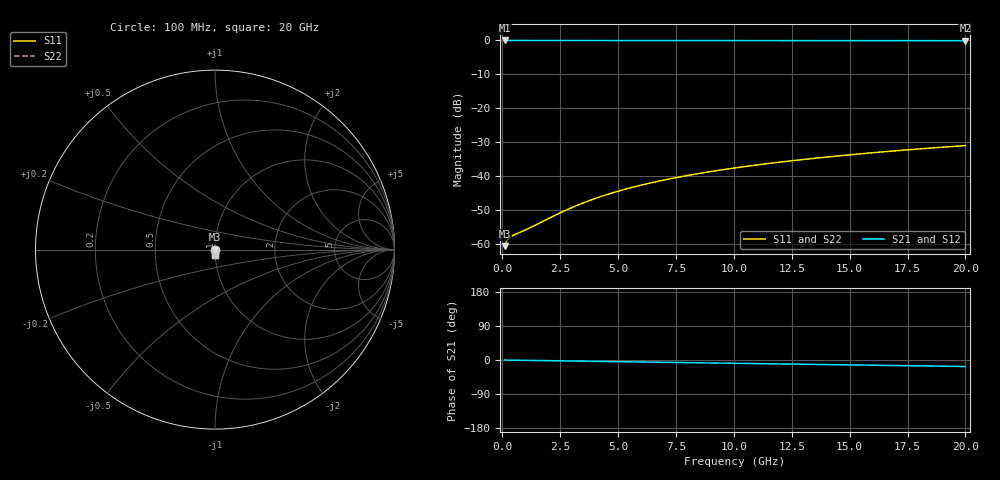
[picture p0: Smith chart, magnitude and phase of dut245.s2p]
! Touchstone file exported from HFSS 2026.1.0
!  File:  C:/ffzhzh/LocalFiles/Ansys_Project_Files/temp_train_TMRDL_245_1782984732_6248.aedt
!  Generated:  05:33:19 PM Jul  2, 2026
!  Design:  TMRDL
!  Project:  temp_train_TMRDL_245_1782984732_6248
! Variables:
!  h_bsmrdl = 2um
!  h_ox = 20um
!  h_rdl = 5um
!  h_sub = 80um
!  h_tmrdl = 5.99um
!  h_tsv = 80um
!  h_via = 3um
!  l_bsmrdl = 300um
!  l_sub = 699.61um
!  l_tmrdl = 299.61um
!  m_sub = 200um
!  pitch = 31.14um
!  r_tsv = 6um
!  s_tmrdl = 10um
!  w_bsmrdl = 18um
!  w_sub = 500um
!  w_tmrdl = 26.43um
!  x_tsv_center1 = 312.825um
!  x_tsv_center2 = 630.825um
!  x_tsv_center3 = 956.865um
!  x_tsv_center4 = 1274.865um
!  x_tsv_center5 = 1600.905um
!  x_tsv_center6 = 1918.905um
# GHz S MA R 50.000000
! Terminal data exported
! Port[1] = TM_RDL1_1_T1
! Port[2] = TM_RDL1_1_T2
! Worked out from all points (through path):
!   200 points, 100 MHz to 20 GHz, reference 50 ohm
!   highest |S21| = -0.01 dB at 100 MHz (marker M1); lowest = -0.1 dB at 20 GHz (marker M2)
!   group delay of S21, straight-line fit = 2.37 ps
!   lowest |S11| = -60.7 dB at 100 MHz (marker M3), VSWR 1.00, Z = 50.1 + j0.0188 ohm
!   |S11| at or under -10 dB: start of sweep to end of sweep
!   |S22| runs from -60.7 to -31.0 dB; largest |S21 - S12| = 3e-15
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0.1  0.0009221 11.7  0.9991 -0.1  0.9991 -0.1  0.0009221 11.7
! Gamma 0 0 0 0
! Port Impedance 50 0 50 0
0.2  0.001103 10.8  0.9989 -0.2  0.9989 -0.2  0.001103 10.8
0.3  0.001218 6.8  0.9988 -0.3  0.9988 -0.3  0.001218 6.8
0.4  0.001292 2.7  0.9987 -0.4  0.9987 -0.4  0.001292 2.7
0.5  0.001347 -0.8  0.9986 -0.5  0.9986 -0.5  0.001347 -0.8
1.2  0.001723 -17.5  0.9983 -1.1  0.9983 -1.1  0.001722 -17.5
2.6  0.002966 -36.6  0.9975 -2.3  0.9975 -2.3  0.002966 -36.6
3.1  0.003533 -41.5  0.9972 -2.8  0.9972 -2.8  0.003533 -41.5
3.5  0.004015 -44.9  0.997 -3.1  0.997 -3.1  0.004015 -44.9
4.2  0.004904 -50.0  0.9966 -3.7  0.9966 -3.7  0.004904 -50.0
5  0.005967 -54.9  0.9962 -4.4  0.9962 -4.4  0.005967 -54.9
5.9  0.007202 -59.5  0.9958 -5.2  0.9958 -5.2  0.007202 -59.5
6.8  0.008463 -63.3  0.9954 -6.0  0.9954 -6.0  0.008463 -63.3
7.5  0.009458 -65.8  0.9951 -6.6  0.9951 -6.6  0.009458 -65.8
8.3  0.01061 -68.4  0.9948 -7.2  0.9948 -7.2  0.01061 -68.4
9.2  0.01191 -71.0  0.9945 -8.0  0.9945 -8.0  0.01191 -71.0
10.1  0.01323 -73.3  0.9942 -8.8  0.9942 -8.8  0.01323 -73.3
11.7  0.01559 -76.8  0.9937 -10.1  0.9937 -10.1  0.01559 -76.8
13.4  0.01813 -80.1  0.9932 -11.6  0.9932 -11.6  0.01813 -80.1
15  0.02054 -82.8  0.9927 -12.9  0.9927 -12.9  0.02054 -82.8
16.7  0.02311 -85.5  0.9922 -14.4  0.9922 -14.4  0.02311 -85.5
20  0.02813 -90.1  0.9913 -17.2  0.9913 -17.2  0.02813 -90.2
